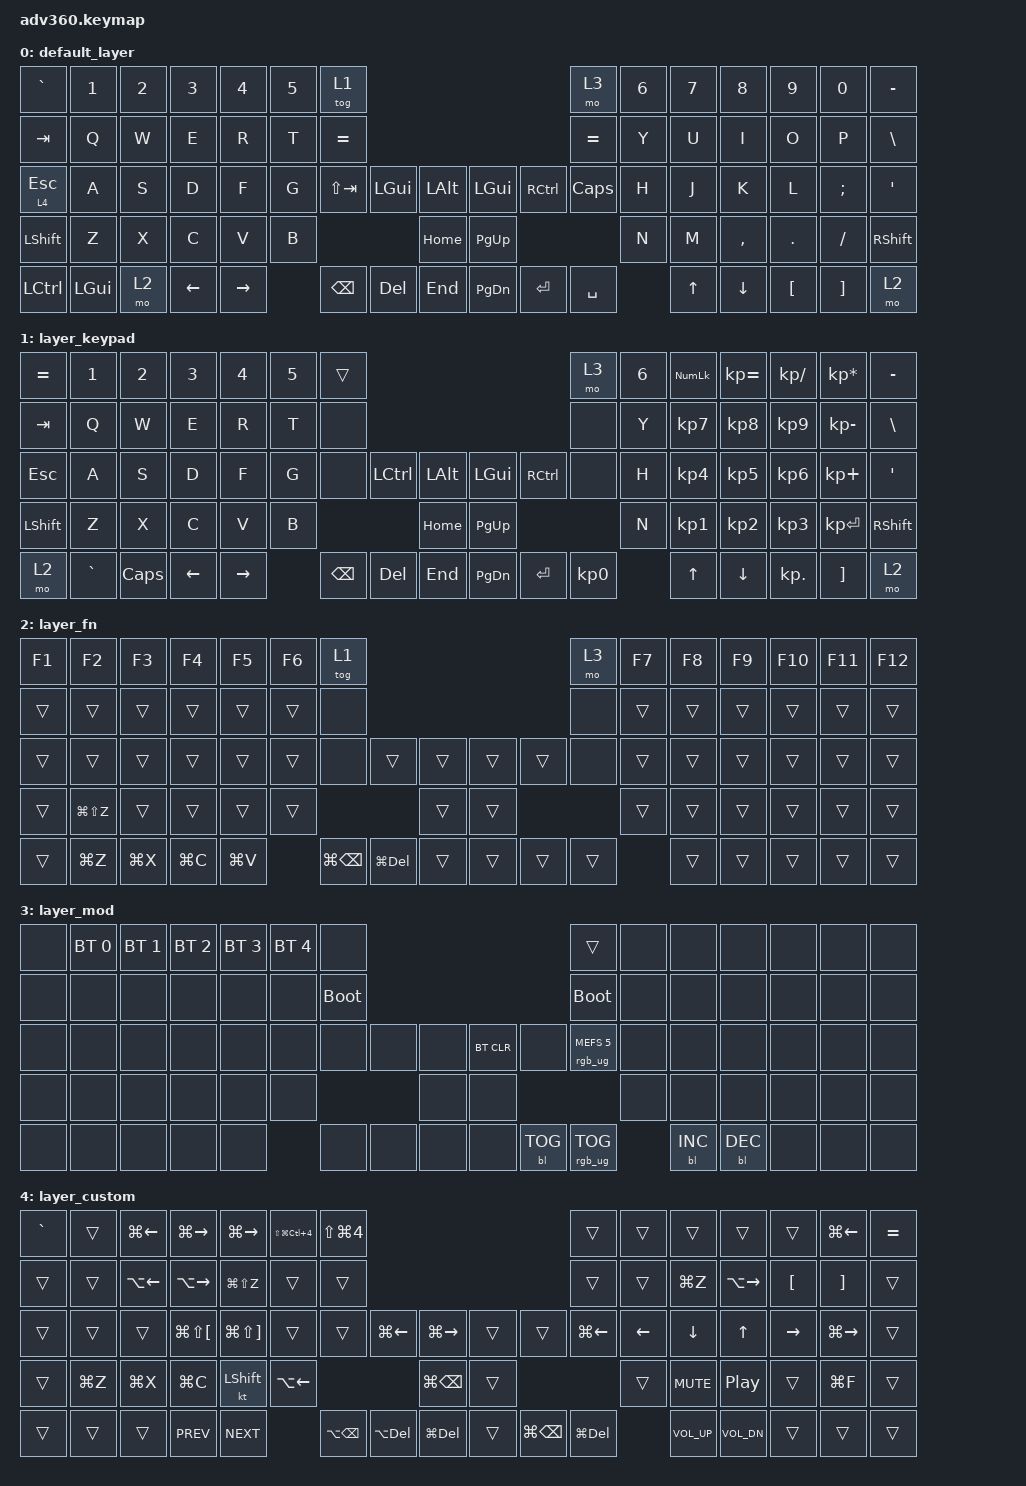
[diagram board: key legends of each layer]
/*
 * Copyright (c) 2020 The ZMK Contributors
 *
 * SPDX-License-Identifier: MIT
 */
/* THIS FILE WAS GENERATED!
 *
 * This file was generated automatically. You may or may not want to
 * edit it directly.
 */

#include <behaviors.dtsi>
#include <dt-bindings/zmk/backlight.h>
#include <dt-bindings/zmk/bt.h>
#include <dt-bindings/zmk/keys.h>
#include <dt-bindings/zmk/rgb.h>

/ {
    behaviors {
        #include "macros.dtsi"
    #include "version.dtsi"

        hm: homerow_mods {
            compatible = "zmk,behavior-hold-tap";
            label = "HOMEROW_MODS";
            #binding-cells = <2>;
            tapping-term-ms = <200>;
            quick_tap_ms = <175>;
            flavor = "tap-preferred";
            bindings = <&kp>, <&kp>;
        };
    };

    keymap {
        compatible = "zmk,keymap";

        default_layer {
            bindings = <
&kp GRAVE  &kp N1    &kp N2  &kp N3    &kp N4     &kp N5  &tog 1                                                     &mo 3      &kp N6  &kp N7  &kp N8     &kp N9    &kp N0    &kp MINUS
&kp TAB    &kp Q     &kp W   &kp E     &kp R      &kp T   &kp EQUAL                                                  &kp EQUAL  &kp Y   &kp U   &kp I      &kp O     &kp P     &kp BSLH
&lt 4 ESC  &kp A     &kp S   &kp D     &kp F      &kp G   &kp LS(TAB)  &kp LGUI  &kp LALT      &kp LGUI   &kp RCTRL  &kp CAPS   &kp H   &kp J   &kp K      &kp L     &kp SEMI  &kp SQT
&kp LSHFT  &kp Z     &kp X   &kp C     &kp V      &kp B                          &kp HOME      &kp PG_UP                        &kp N   &kp M   &kp COMMA  &kp DOT   &kp FSLH  &kp RSHFT
&kp LCTRL  &kp LGUI  &mo 2   &kp LEFT  &kp RIGHT          &kp BSPC     &kp DEL   &kp END       &kp PG_DN  &kp ENTER  &kp SPACE          &kp UP  &kp DOWN   &kp LBKT  &kp RBKT  &mo 2
            >;
        };

        layer_keypad {
            bindings = <
&kp EQUAL  &kp N1     &kp N2    &kp N3    &kp N4     &kp N5  &trans                                                   &mo 3      &kp N6  &kp KP_NUM  &kp KP_EQUAL  &kp KP_DIVIDE  &kp KP_MULTIPLY  &kp MINUS
&kp TAB    &kp Q      &kp W     &kp E     &kp R      &kp T   &none                                                    &none      &kp Y   &kp KP_N7   &kp KP_N8     &kp KP_N9      &kp KP_MINUS     &kp BSLH
&kp ESC    &kp A      &kp S     &kp D     &kp F      &kp G   &none     &kp LCTRL  &kp LALT      &kp LGUI   &kp RCTRL  &none      &kp H   &kp KP_N4   &kp KP_N5     &kp KP_N6      &kp KP_PLUS      &kp SQT
&kp LSHFT  &kp Z      &kp X     &kp C     &kp V      &kp B                        &kp HOME      &kp PG_UP                        &kp N   &kp KP_N1   &kp KP_N2     &kp KP_N3      &kp KP_ENTER     &kp RSHFT
&mo 2      &kp GRAVE  &kp CAPS  &kp LEFT  &kp RIGHT          &kp BSPC  &kp DEL    &kp END       &kp PG_DN  &kp ENTER  &kp KP_N0          &kp UP      &kp DOWN      &kp KP_DOT     &kp RBKT         &mo 2
            >;
        };

        layer_fn {
            bindings = <
&kp F1  &kp F2         &kp F3     &kp F4     &kp F5     &kp F6  &tog 1                                                 &mo 3   &kp F7  &kp F8  &kp F9  &kp F10  &kp F11  &kp F12
&trans  &trans         &trans     &trans     &trans     &trans  &none                                                  &none   &trans  &trans  &trans  &trans   &trans   &trans
&trans  &trans         &trans     &trans     &trans     &trans  &none         &trans       &trans      &trans  &trans  &none   &trans  &trans  &trans  &trans   &trans   &trans
&trans  &kp LG(LS(Z))  &trans     &trans     &trans     &trans                             &trans      &trans                  &trans  &trans  &trans  &trans   &trans   &trans
&trans  &kp LG(Z)      &kp LG(X)  &kp LG(C)  &kp LG(V)          &kp LG(BSPC)  &kp LG(DEL)  &trans      &trans  &trans  &trans          &trans  &trans  &trans   &trans   &trans
            >;
        };

        layer_mod {
            bindings = <
&none  &bt BT_SEL 0  &bt BT_SEL 1  &bt BT_SEL 2  &bt BT_SEL 3  &bt BT_SEL 4  &none                                                  &trans                  &none  &none       &none       &none  &none  &none
&none  &none         &none         &none         &none         &none         &bootloader                                            &bootloader             &none  &none       &none       &none  &none  &none
&none  &none         &none         &none         &none         &none         &none        &none  &none      &bt BT_CLR  &none       &rgb_ug RGB_MEFS_CMD 5  &none  &none       &none       &none  &none  &none
&none  &none         &none         &none         &none         &none                             &none      &none                                           &none  &none       &none       &none  &none  &none
&none  &none         &none         &none         &none                       &none        &none  &none      &none       &bl BL_TOG  &rgb_ug RGB_TOG                &bl BL_INC  &bl BL_DEC  &none  &none  &none
            >;
        };

        layer_custom {
            bindings = <
&kp GRAVE  &trans     &kp LG(LEFT)  &kp LG(RIGHT)             &kp LG(RIGHT)              &kp LS(LG(LC(N4)))  &kp LS(LG(N4))                                                         &trans        &trans    &trans        &trans         &trans            &kp LG(LEFT)       &kp EQUAL
&trans     &trans     &kp LA(LEFT)  &kp LA(RIGHT)             &kp LG(LS(Z))              &trans              &trans                                                                 &trans        &trans    &kp LG(Z)     &kp LA(RIGHT)  &kp LEFT_BRACKET  &kp RIGHT_BRACKET  &trans
&trans     &trans     &trans        &kp LG(LS(LEFT_BRACKET))  &kp LG(LS(RIGHT_BRACKET))  &trans              &trans          &kp LG(LEFT)  &kp LG(RIGHT)      &trans  &trans        &kp LG(LEFT)  &kp LEFT  &kp DOWN      &kp UP         &kp RIGHT         &kp LG(RIGHT)      &trans
&trans     &kp LG(Z)  &kp LG(X)     &kp LG(C)                 &kt LEFT_SHIFT             &kp LA(LEFT)                                      &kp LG(BSPC)       &trans                              &trans    &kp C_MUTE    &kp C_PP       &trans            &kp LG(F)          &trans
&trans     &trans     &trans        &kp C_PREV                &kp C_NEXT                                     &kp LA(BSPC)    &kp LA(DEL)   &kp LG(DEL)        &trans  &kp LG(BSPC)  &kp LG(DEL)             &kp C_VOL_UP  &kp C_VOL_DN   &trans            &trans             &trans
            >;
        };
    };
};
